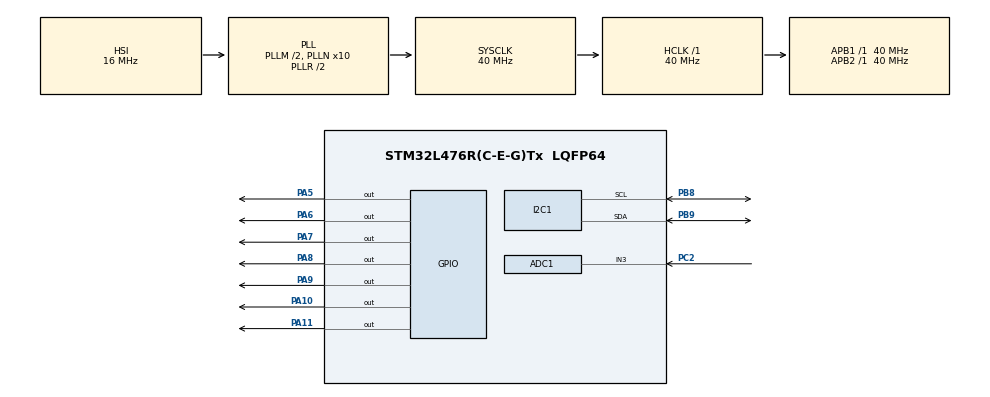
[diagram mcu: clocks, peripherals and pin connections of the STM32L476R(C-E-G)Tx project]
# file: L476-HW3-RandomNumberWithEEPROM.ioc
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ADC1.Channel-0\#ChannelRegularConversion=ADC_CHANNEL_3
ADC1.ContinuousConvMode=ENABLE
ADC1.EOCSelection=ADC_EOC_SEQ_CONV
ADC1.NbrOfConversionFlag=1
ADC1.OffsetNumber-0\#ChannelRegularConversion=ADC_OFFSET_NONE
ADC1.Overrun=ADC_OVR_DATA_OVERWRITTEN
ADC1.Rank-0\#ChannelRegularConversion=1
ADC1.SamplingTime-0\#ChannelRegularConversion=ADC_SAMPLETIME_2CYCLES_5
ADC1.master=1
I2C1.Timing=0x00D09BE3
Mcu.Family=STM32L4
Mcu.Name=STM32L476R(C-E-G)Tx
Mcu.Package=LQFP64
NVIC.PriorityGroup=NVIC_PRIORITYGROUP_4
PA10.Signal=GPIO_Output
PA11.Signal=GPIO_Output
PA5.Signal=GPIO_Output
PA6.Signal=GPIO_Output
PA7.Signal=GPIO_Output
PA8.Signal=GPIO_Output
PA9.Signal=GPIO_Output
PB8.Mode=I2C
PB8.Signal=I2C1_SCL
PB9.Mode=I2C
PB9.Signal=I2C1_SDA
PC2.Signal=ADCx_IN3
ProjectManager.HeapSize=0x200
ProjectManager.StackSize=0x400
ProjectManager.TargetToolchain=STM32CubeIDE
RCC.ADCFreq_Value=32000000
RCC.AHBFreq_Value=40000000
RCC.APB1Freq_Value=40000000
RCC.APB1TimFreq_Value=40000000
RCC.APB2Freq_Value=40000000
RCC.APB2TimFreq_Value=40000000
RCC.CortexFreq_Value=40000000
RCC.HCLKFreq_Value=40000000
RCC.HSE_VALUE=8000000
RCC.HSI_VALUE=16000000
RCC.LSE_VALUE=32768
RCC.MSI_VALUE=4000000
RCC.PLLM=2
RCC.PLLN=10
RCC.PLLSourceVirtual=RCC_PLLSOURCE_HSI
RCC.PREFETCH_ENABLE=1
RCC.SYSCLKFreq_VALUE=40000000
RCC.SYSCLKSource=RCC_SYSCLKSOURCE_PLLCLK
RCC.USBFreq_Value=32000000
RCC.VCOOutputFreq_Value=80000000
SH.ADCx_IN3.0=ADC1_IN3,IN3-Single-Ended
board=NUCLEO-L476RG

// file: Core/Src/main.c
/* USER CODE BEGIN Header */
/**
  ******************************************************************************
  * @file           : main.c
  * @brief          : Main program body
  ******************************************************************************
  * @attention
  *
  * Copyright (c) 2026 STMicroelectronics.
  * All rights reserved.
  *
  * This software is licensed under terms that can be found in the LICENSE file
  * in the root directory of this software component.
  * If no LICENSE file comes with this software, it is provided AS-IS.
  *
  ******************************************************************************
  */
/* USER CODE END Header */
#include "main.h"

/* USER CODE BEGIN Includes */
#include "lcd.h"
#include "string.h"
#define LED GPIO_PIN_5
#include "stdio.h"
#include "stdlib.h"
/* USER CODE END Includes */

/* USER CODE BEGIN PTD */
char I2C_ADDRESS = 0xA0;
/* USER CODE END PTD */

ADC_HandleTypeDef hadc1;

I2C_HandleTypeDef hi2c1;

void SystemClock_Config(void);
static void MX_GPIO_Init(void);
static void MX_I2C1_Init(void);
static void MX_ADC1_Init(void);

/* USER CODE BEGIN 0 */
void WRITE(uint16_t MemLoc, uint8_t *pData, uint16_t len){
	uint8_t data[32];

	data[0]=(uint8_t) ((MemLoc & 0xFF00) >> 8);
	data[1]=(uint8_t) (MemLoc & 0xFF);
	memcpy(data+2, pData, len);
	HAL_I2C_Master_Transmit(&hi2c1, I2C_ADDRESS, data, len+2, HAL_MAX_DELAY);
	while(HAL_I2C_Master_Transmit(&hi2c1, I2C_ADDRESS, 0, 0, HAL_MAX_DELAY) != HAL_OK);
}

void READ(uint16_t MemLoc, uint8_t *pData, uint16_t len){
	uint8_t addr[2];
	addr[0] =(uint8_t) ((MemLoc & 0xFF00) >> 8);
	addr[1] =(uint8_t) (MemLoc & 0XFF);
	HAL_I2C_Master_Transmit(&hi2c1, I2C_ADDRESS, addr, 2, HAL_MAX_DELAY);
	HAL_I2C_Master_Receive(&hi2c1, I2C_ADDRESS, pData, len, HAL_MAX_DELAY);
}
/* USER CODE END 0 */

int main(void)
{

  /* USER CODE BEGIN 1 */
//  int count, i;
//  char wmsg[]={'1','5'};
  char wmsg[10];
  char rmsg[10];
  /* USER CODE END 1 */

  /* MCU Configuration--------------------------------------------------------*/

  /* Reset of all peripherals, Initializes the Flash interface and the Systick. */
  HAL_Init();

  /* Configure the system clock */
  SystemClock_Config();

  /* Initialize all configured peripherals */
  MX_GPIO_Init();
  MX_I2C1_Init();
  MX_ADC1_Init();
  /* USER CODE BEGIN 2 */
  //=======================*LCD initialization*====================================//
  lcd_Init();
  lcd_Clear();
  lcd_Goto(0,0);
  lcd_Puts("Hi! Nucleo-L476 ");

  HAL_Delay(3000);
  lcd_Goto(0,0);
  lcd_Puts("Generate Random ");
  HAL_Delay(3000);
  //==========================LCD END==============================================//

  //=========================Random number generation==============================//
//  srand(HAL_GetTick());
//  int randomNum=2234;
  uint32_t seed;

  HAL_ADC_Start(&hadc1);
  HAL_ADC_PollForConversion(&hadc1, 10);
  seed = HAL_ADC_GetValue(&hadc1);
  HAL_ADC_Stop(&hadc1);

  seed ^= HAL_GetTick();// increasing more random
  srand(seed);
  int randomNum = rand() % 10000;

  sprintf(wmsg, "%d", randomNum);
  lcd_Goto(0,1);
  lcd_Puts("randomNum: ");
  lcd_Puts(wmsg);
  HAL_Delay(3000);
  //=========================random number generation end =========================//

  //==========================I2C==================================================//
  HAL_I2C_Init(&hi2c1);
  WRITE(0x1000, (uint8_t*)wmsg, strlen(wmsg)+1);
  HAL_Delay(500);
  READ(0x1000, (uint8_t*)rmsg, strlen(rmsg)+1);

//  count= 10*(rmsg[0] - '0')+ rmsg[1]-'0';
//	for(i=0; i<count; i++){
//	  HAL_GPIO_TogglePin(GPIOA, LED);
//	  HAL_Delay(1000);
//	}

  //==========================I2C END=================================================//
  /* USER CODE END 2 */

  /* Infinite loop */
  /* USER CODE BEGIN WHILE */

  //==========================Check Write and Read number===========================//
  lcd_Clear();
  lcd_Goto(0,0);
  lcd_Puts("check EEPROM:");
  HAL_Delay(5000);

  lcd_Goto(0,1);
  lcd_Puts("w:");
  lcd_Puts(wmsg);
  lcd_Puts("  r:");
  lcd_Puts(rmsg);

  HAL_Delay(5000);

  lcd_Goto(0,1);
  if(strcmp(wmsg,rmsg)==0){
	  lcd_Puts("EEPROM OK       ");
  }else{
	  lcd_Puts("EEPROM FAIL     ");
  }

  HAL_Delay(5000);
  lcd_Goto(0,0);
  lcd_Puts("Random Number:");

  //==========================Ticker funciton=======================================//
  //  char rdmsg[] = "1234";//for test ticker function example
  char ticker[50];
  sprintf(ticker,
          "                %s                ",
		  rmsg);
  char window[17];
  while (1)
  {
	  int len = strlen(ticker);

	      for(int i = 0; i <= len - 16; i++)
	      {
	          strncpy(window, &ticker[i], 16);
	          window[16] = '\0';

	          lcd_Goto(0,1);
	          lcd_Puts("                ");

	          lcd_Goto(0,1);
	          lcd_Puts(window);

	          HAL_Delay(250);
	      }
    /* USER CODE END WHILE */

  }
}

void SystemClock_Config(void)
{
  RCC_OscInitTypeDef RCC_OscInitStruct = {0};
  RCC_ClkInitTypeDef RCC_ClkInitStruct = {0};

  /** Configure the main internal regulator output voltage
  */
  if (HAL_PWREx_ControlVoltageScaling(PWR_REGULATOR_VOLTAGE_SCALE1) != HAL_OK)
  {
    Error_Handler();
  }

  /** Initializes the RCC Oscillators according to the specified parameters
  * in the RCC_OscInitTypeDef structure.
  */
  RCC_OscInitStruct.OscillatorType = RCC_OSCILLATORTYPE_HSI;
  RCC_OscInitStruct.HSIState = RCC_HSI_ON;
  RCC_OscInitStruct.HSICalibrationValue = RCC_HSICALIBRATION_DEFAULT;
  RCC_OscInitStruct.PLL.PLLState = RCC_PLL_ON;
  RCC_OscInitStruct.PLL.PLLSource = RCC_PLLSOURCE_HSI;
  RCC_OscInitStruct.PLL.PLLM = 2;
  RCC_OscInitStruct.PLL.PLLN = 10;
  RCC_OscInitStruct.PLL.PLLP = RCC_PLLP_DIV7;
  RCC_OscInitStruct.PLL.PLLQ = RCC_PLLQ_DIV2;
  RCC_OscInitStruct.PLL.PLLR = RCC_PLLR_DIV2;
  if (HAL_RCC_OscConfig(&RCC_OscInitStruct) != HAL_OK)
  {
    Error_Handler();
  }

  /** Initializes the CPU, AHB and APB buses clocks
  */
  RCC_ClkInitStruct.ClockType = RCC_CLOCKTYPE_HCLK|RCC_CLOCKTYPE_SYSCLK
                              |RCC_CLOCKTYPE_PCLK1|RCC_CLOCKTYPE_PCLK2;
  RCC_ClkInitStruct.SYSCLKSource = RCC_SYSCLKSOURCE_PLLCLK;
  RCC_ClkInitStruct.AHBCLKDivider = RCC_SYSCLK_DIV1;
  RCC_ClkInitStruct.APB1CLKDivider = RCC_HCLK_DIV1;
  RCC_ClkInitStruct.APB2CLKDivider = RCC_HCLK_DIV1;

  if (HAL_RCC_ClockConfig(&RCC_ClkInitStruct, FLASH_LATENCY_2) != HAL_OK)
  {
    Error_Handler();
  }
}

static void MX_ADC1_Init(void)
{

  ADC_MultiModeTypeDef multimode = {0};
  ADC_ChannelConfTypeDef sConfig = {0};

  /** Common config
  */
  hadc1.Instance = ADC1;
  hadc1.Init.ClockPrescaler = ADC_CLOCK_ASYNC_DIV1;
  hadc1.Init.Resolution = ADC_RESOLUTION_12B;
  hadc1.Init.DataAlign = ADC_DATAALIGN_RIGHT;
  hadc1.Init.ScanConvMode = ADC_SCAN_DISABLE;
  hadc1.Init.EOCSelection = ADC_EOC_SEQ_CONV;
  hadc1.Init.LowPowerAutoWait = DISABLE;
  hadc1.Init.ContinuousConvMode = ENABLE;
  hadc1.Init.NbrOfConversion = 1;
  hadc1.Init.DiscontinuousConvMode = DISABLE;
  hadc1.Init.ExternalTrigConv = ADC_SOFTWARE_START;
  hadc1.Init.ExternalTrigConvEdge = ADC_EXTERNALTRIGCONVEDGE_NONE;
  hadc1.Init.DMAContinuousRequests = DISABLE;
  hadc1.Init.Overrun = ADC_OVR_DATA_OVERWRITTEN;
  hadc1.Init.OversamplingMode = DISABLE;
  if (HAL_ADC_Init(&hadc1) != HAL_OK)
  {
    Error_Handler();
  }

  /** Configure the ADC multi-mode
  */
  multimode.Mode = ADC_MODE_INDEPENDENT;
  if (HAL_ADCEx_MultiModeConfigChannel(&hadc1, &multimode) != HAL_OK)
  {
    Error_Handler();
  }

  /** Configure Regular Channel
  */
  sConfig.Channel = ADC_CHANNEL_3;
  sConfig.Rank = ADC_REGULAR_RANK_1;
  sConfig.SamplingTime = ADC_SAMPLETIME_2CYCLES_5;
  sConfig.SingleDiff = ADC_SINGLE_ENDED;
  sConfig.OffsetNumber = ADC_OFFSET_NONE;
  sConfig.Offset = 0;
  if (HAL_ADC_ConfigChannel(&hadc1, &sConfig) != HAL_OK)
  {
    Error_Handler();
  }

}

static void MX_I2C1_Init(void)
{

  hi2c1.Instance = I2C1;
  hi2c1.Init.Timing = 0x00D09BE3;
  hi2c1.Init.OwnAddress1 = 0;
  hi2c1.Init.AddressingMode = I2C_ADDRESSINGMODE_7BIT;
  hi2c1.Init.DualAddressMode = I2C_DUALADDRESS_DISABLE;
  hi2c1.Init.OwnAddress2 = 0;
  hi2c1.Init.OwnAddress2Masks = I2C_OA2_NOMASK;
  hi2c1.Init.GeneralCallMode = I2C_GENERALCALL_DISABLE;
  hi2c1.Init.NoStretchMode = I2C_NOSTRETCH_DISABLE;
  if (HAL_I2C_Init(&hi2c1) != HAL_OK)
  {
    Error_Handler();
  }

  /** Configure Analogue filter
  */
  if (HAL_I2CEx_ConfigAnalogFilter(&hi2c1, I2C_ANALOGFILTER_ENABLE) != HAL_OK)
  {
    Error_Handler();
  }

  /** Configure Digital filter
  */
  if (HAL_I2CEx_ConfigDigitalFilter(&hi2c1, 0) != HAL_OK)
  {
    Error_Handler();
  }

}

static void MX_GPIO_Init(void)
{
  GPIO_InitTypeDef GPIO_InitStruct = {0};

  /* GPIO Ports Clock Enable */
  __HAL_RCC_GPIOC_CLK_ENABLE();
  __HAL_RCC_GPIOA_CLK_ENABLE();
  __HAL_RCC_GPIOB_CLK_ENABLE();

  /*Configure GPIO pin Output Level */
  HAL_GPIO_WritePin(GPIOA, GPIO_PIN_5|GPIO_PIN_6|GPIO_PIN_7|GPIO_PIN_8
                          |GPIO_PIN_9|GPIO_PIN_10|GPIO_PIN_11, GPIO_PIN_RESET);

  /*Configure GPIO pins : PA5 PA6 PA7 PA8
                           PA9 PA10 PA11 */
  GPIO_InitStruct.Pin = GPIO_PIN_5|GPIO_PIN_6|GPIO_PIN_7|GPIO_PIN_8
                          |GPIO_PIN_9|GPIO_PIN_10|GPIO_PIN_11;
  GPIO_InitStruct.Mode = GPIO_MODE_OUTPUT_PP;
  GPIO_InitStruct.Pull = GPIO_NOPULL;
  GPIO_InitStruct.Speed = GPIO_SPEED_FREQ_LOW;
  HAL_GPIO_Init(GPIOA, &GPIO_InitStruct);

}

void Error_Handler(void)
{
  __disable_irq();
  while (1)
  {
  }
}
